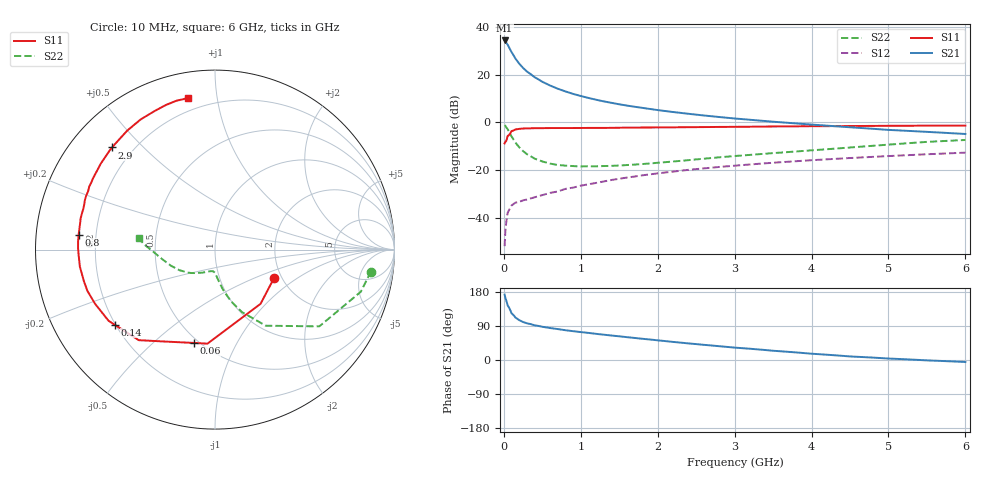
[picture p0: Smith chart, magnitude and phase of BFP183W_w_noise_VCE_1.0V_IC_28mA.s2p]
! Infineon Technologies  Discrete & RF Semiconductors
! BFP183W
! VCE =  1.0 V,  IC =  28 mA
! Common Emitter S-Parameters:  Jan 2017
# GHz  S  MA  R  50
!  f  S11  S21  S12  S22
! GHz  MAG  ANG  MAG  ANG  MAG  ANG  MAG  ANG
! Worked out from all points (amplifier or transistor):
!   77 points, 10 MHz to 6 GHz, reference 50 ohm
!   highest |S21| = 34.3 dB at 10 MHz (marker M1)
!   |S21| within 3 dB of that: start of sweep to 69.75 MHz
!   unconditionally stable (mu >= 1): 529.4 MHz to end of sweep
!   at 130 MHz: K = 0.39, MSG = 30.9 dB, |S12| = -34.0 dB
!   at 2.2 GHz: K = 1.24, MAG = 9.5 dB, |S12| = -20.5 dB
!   at 6 GHz: K = 1.04, MAG = 2.7 dB, |S12| = -12.6 dB
!   lowest NFmin = 1.35 dB at 450 MHz
!   S11 on the Smith chart (normalised r, x): 10 MHz: 1.83, -0.66; 60 MHz: 0.47, -0.68; 140 MHz: 0.20, -0.32; 800 MHz: 0.13, +0.05; 2.9 GHz: 0.12, +0.41; 6 GHz: 0.13, +0.83
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0.01  0.3652 -25.4  51.62 172.5  0.0026 83.5  0.8771 -8.0
0.02  0.3945 -49.9  49.98 163.9  0.0054 82.5  0.8459 -16.1
0.05  0.5256 -94.6  42.02 143.8  0.013 60.1  0.7218 -36.3
0.06  0.5334 -102.9  39.19 140.8  0.014 56.3  0.6742 -39.3
0.1  0.6597 -130.1  29.47 123.1  0.0184 45.5  0.5099 -56.3
0.14  0.6984 -143.2  23.17 115.0  0.0205 39.8  0.4047 -64.0
0.15  0.7133 -146.2  21.69 112.2  0.0211 38.5  0.3799 -66.6
0.2  0.7334 -155.7  16.89 105.2  0.0218 37.9  0.3026 -72.7
0.25  0.747 -162.0  13.77 100.3  0.0236 38.3  0.2521 -76.5
0.3  0.7513 -166.4  11.59 96.9  0.0245 39.2  0.2176 -79.5
0.4  0.7588 -172.8  8.81 91.6  0.0273 44.2  0.1754 -83.3
0.5  0.76 -177.2  7.068 87.7  0.0303 46.8  0.1529 -86.0
0.6  0.763 179.4  5.918 84.4  0.0337 50.1  0.1382 -88.7
0.8  0.7643 173.7  4.449 78.6  0.0409 55.4  0.1253 -92.0
1.1  0.7685 166.9  3.249 71.5  0.051 58.3  0.1215 -97.3
1.5  0.7756 159.2  2.394 62.5  0.0666 59.9  0.126 -105.4
2.1  0.7884 148.1  1.73 49.9  0.0901 59.1  0.148 -119.8
2.9  0.8075 135.2  1.253 34.6  0.1211 55.3  0.1926 -137.9
3.1  0.8117 132.1  1.173 31.2  0.1286 54.0  0.2042 -142.2
4.1  0.8359 118.5  0.879 15.3  0.166 47.5  0.2683 -162.1
5.1  0.8516 107.9  0.686 3.0  0.2018 40.5  0.3532 -179.3
6  0.8575 100.0  0.574 -5.3  0.2338 34.0  0.4303 171.7
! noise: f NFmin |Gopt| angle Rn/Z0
0.45  1.35  0.26  179  0.09
0.9  1.38  0.29  -179  0.1
1.9  1.87  0.44  -157  0.1
2.4  2.12  0.49  -152  0.14
